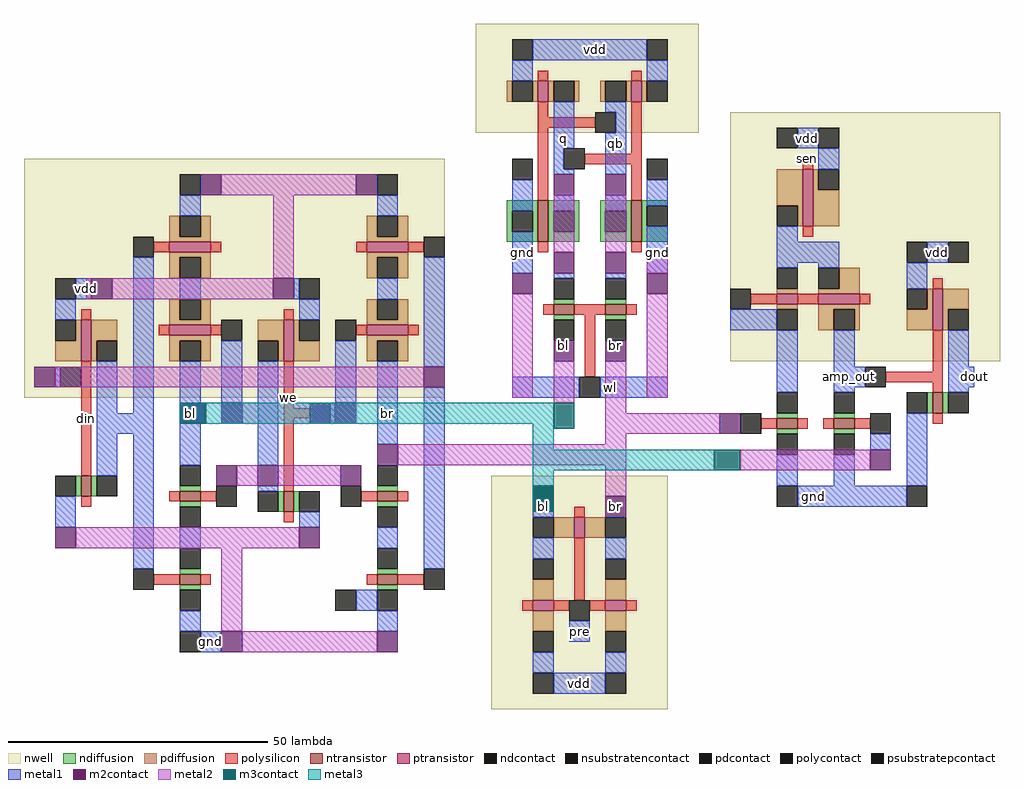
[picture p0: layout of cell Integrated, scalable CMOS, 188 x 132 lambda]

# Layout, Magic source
magic
tech scmos
<< nwell >>
rect -8 37 35 58
rect -95 -14 -14 32
rect 41 -7 93 41
rect -5 -74 29 -29
<< ntransistor >>
rect 4 16 6 24
rect 22 16 24 24
rect 7 2 11 4
rect 17 2 21 4
rect -84 -33 -82 -29
rect -65 -34 -61 -32
rect 80 -17 82 -13
rect 50 -20 54 -18
rect 61 -20 65 -18
rect -45 -36 -43 -32
rect -27 -34 -23 -32
rect -65 -50 -61 -48
rect -27 -50 -23 -48
<< ptransistor >>
rect 4 43 6 47
rect 22 43 24 47
rect -67 14 -59 16
rect -29 14 -21 16
rect 55 19 57 30
rect 50 4 54 6
rect 58 4 66 6
rect -84 -7 -82 1
rect -67 -2 -59 0
rect -45 -7 -43 1
rect -29 -2 -21 0
rect 80 -1 82 7
rect 11 -41 13 -37
rect 3 -55 7 -53
rect 17 -55 21 -53
<< ndiffusion >>
rect -2 22 4 24
rect -2 18 -1 22
rect 3 18 4 22
rect -2 16 4 18
rect 6 22 12 24
rect 6 18 7 22
rect 11 18 12 22
rect 6 16 12 18
rect 16 22 22 24
rect 16 18 17 22
rect 21 18 22 22
rect 16 16 22 18
rect 24 23 29 24
rect 24 19 25 23
rect 24 16 29 19
rect 7 4 11 5
rect 17 4 21 5
rect 7 1 11 2
rect 17 1 21 2
rect -85 -33 -84 -29
rect -82 -33 -81 -29
rect -65 -32 -61 -31
rect -65 -35 -61 -34
rect 50 -18 54 -17
rect 79 -17 80 -13
rect 82 -17 83 -13
rect 61 -18 65 -17
rect 50 -21 54 -20
rect 61 -21 65 -20
rect -46 -36 -45 -32
rect -43 -36 -42 -32
rect -27 -32 -23 -31
rect -27 -35 -23 -34
rect -65 -48 -61 -47
rect -27 -48 -23 -47
rect -65 -51 -61 -50
rect -27 -51 -23 -50
<< pdiffusion >>
rect -2 43 -1 47
rect 3 43 4 47
rect 6 43 7 47
rect 11 43 12 47
rect 16 43 17 47
rect 21 43 22 47
rect 24 43 25 47
rect -67 17 -65 21
rect -61 17 -59 21
rect -67 16 -59 17
rect -29 17 -27 21
rect -23 17 -21 21
rect -29 16 -21 17
rect -67 13 -59 14
rect -67 9 -65 13
rect -61 9 -59 13
rect -29 13 -21 14
rect 50 23 55 30
rect 54 19 55 23
rect 57 26 58 30
rect 57 19 62 26
rect -29 9 -27 13
rect -23 9 -21 13
rect -67 1 -65 5
rect -61 1 -59 5
rect -29 1 -27 5
rect -23 1 -21 5
rect 50 6 54 7
rect 62 7 66 11
rect 58 6 66 7
rect 50 3 54 4
rect -85 -3 -84 1
rect -89 -7 -84 -3
rect -82 -3 -77 1
rect -67 0 -59 1
rect -82 -7 -81 -3
rect -67 -3 -59 -2
rect -50 -3 -45 1
rect -67 -7 -65 -3
rect -61 -7 -59 -3
rect -46 -7 -45 -3
rect -43 -3 -42 1
rect -29 0 -21 1
rect -29 -3 -21 -2
rect -43 -7 -38 -3
rect -29 -7 -27 -3
rect -23 -7 -21 -3
rect 58 3 66 4
rect 58 -1 61 3
rect 65 -1 66 3
rect 79 3 80 7
rect 75 -1 80 3
rect 82 3 87 7
rect 82 -1 83 3
rect 7 -41 11 -37
rect 13 -41 17 -37
rect 3 -53 7 -49
rect 17 -53 21 -49
rect 3 -59 7 -55
rect 17 -59 21 -55
<< ndcontact >>
rect -1 18 3 22
rect 7 18 11 22
rect 17 18 21 22
rect 25 19 29 23
rect 7 5 11 9
rect 17 5 21 9
rect 7 -3 11 1
rect 17 -3 21 1
rect -89 -33 -85 -29
rect -81 -33 -77 -29
rect -65 -31 -61 -27
rect 50 -17 54 -13
rect 61 -17 65 -13
rect 75 -17 79 -13
rect 83 -17 87 -13
rect 50 -25 54 -21
rect 61 -25 65 -21
rect -27 -31 -23 -27
rect -65 -39 -61 -35
rect -50 -36 -46 -32
rect -42 -36 -38 -32
rect -27 -39 -23 -35
rect -65 -47 -61 -43
rect -27 -47 -23 -43
rect -65 -55 -61 -51
rect -27 -55 -23 -51
<< pdcontact >>
rect -1 43 3 47
rect 7 43 11 47
rect 17 43 21 47
rect 25 43 29 47
rect -65 17 -61 21
rect -27 17 -23 21
rect -65 9 -61 13
rect 50 19 54 23
rect 58 26 62 30
rect -27 9 -23 13
rect -65 1 -61 5
rect -27 1 -23 5
rect 50 7 54 11
rect 58 7 62 11
rect -89 -3 -85 1
rect -81 -7 -77 -3
rect -65 -7 -61 -3
rect -50 -7 -46 -3
rect -42 -3 -38 1
rect -27 -7 -23 -3
rect 50 -1 54 3
rect 61 -1 65 3
rect 75 3 79 7
rect 83 -1 87 3
rect 3 -41 7 -37
rect 17 -41 21 -37
rect 3 -49 7 -45
rect 17 -49 21 -45
rect 3 -63 7 -59
rect 17 -63 21 -59
<< psubstratepcontact >>
rect -1 28 3 32
rect 25 28 29 32
rect 50 -35 54 -31
rect 75 -35 79 -31
rect -35 -55 -31 -51
rect -65 -63 -61 -59
<< nsubstratencontact >>
rect -1 51 3 55
rect 25 51 29 55
rect -65 25 -61 29
rect -27 25 -23 29
rect 50 34 54 38
rect 58 34 62 38
rect 75 12 79 16
rect 83 12 87 16
rect -89 5 -85 9
rect -42 5 -38 9
rect 3 -71 7 -67
rect 17 -71 21 -67
<< polysilicon >>
rect 4 47 6 49
rect 22 47 24 49
rect 4 40 6 43
rect 4 38 15 40
rect 4 24 6 38
rect 22 33 24 43
rect 13 31 24 33
rect 22 24 24 31
rect 55 30 57 32
rect -70 14 -67 16
rect -59 14 -57 16
rect -31 14 -29 16
rect -21 14 -18 16
rect 55 17 57 19
rect 4 14 6 16
rect 22 14 24 16
rect -84 1 -82 3
rect -45 1 -43 3
rect 5 2 7 4
rect 11 2 17 4
rect 21 2 23 4
rect 80 7 82 9
rect 45 4 50 6
rect 54 4 58 6
rect 66 4 68 6
rect -69 -2 -67 0
rect -59 -2 -57 0
rect -31 -2 -29 0
rect -21 -2 -19 0
rect -84 -29 -82 -7
rect -45 -16 -43 -7
rect 13 -10 15 2
rect 80 -9 82 -1
rect 71 -11 82 -9
rect 80 -13 82 -11
rect -45 -18 -40 -16
rect -84 -35 -82 -33
rect -67 -34 -65 -32
rect -61 -34 -58 -32
rect -45 -32 -43 -18
rect 47 -20 50 -18
rect 54 -20 56 -18
rect 59 -20 61 -18
rect 65 -20 68 -18
rect 80 -19 82 -17
rect -30 -34 -27 -32
rect -23 -34 -21 -32
rect -45 -38 -43 -36
rect 11 -37 13 -35
rect -70 -50 -65 -48
rect -61 -50 -59 -48
rect -29 -50 -27 -48
rect -23 -50 -18 -48
rect 11 -53 13 -41
rect 1 -55 3 -53
rect 7 -55 10 -53
rect 14 -55 17 -53
rect 21 -55 23 -53
<< polycontact >>
rect 15 37 19 41
rect 9 30 13 34
rect -74 13 -70 17
rect -18 13 -14 17
rect 41 3 45 7
rect -57 -3 -53 1
rect -35 -3 -31 1
rect -88 -12 -84 -8
rect 12 -14 16 -10
rect 67 -12 71 -8
rect -58 -35 -54 -31
rect -40 -19 -36 -15
rect 43 -21 47 -17
rect 68 -21 72 -17
rect -34 -35 -30 -31
rect -74 -51 -70 -47
rect -18 -51 -14 -47
rect 10 -57 14 -53
<< metal1 >>
rect 3 51 25 55
rect -1 47 3 51
rect 25 47 29 51
rect 7 34 11 43
rect 17 41 21 43
rect 19 37 21 41
rect -65 21 -61 25
rect -27 21 -23 25
rect -1 22 3 28
rect 7 30 9 34
rect 7 29 11 30
rect 7 22 11 25
rect 17 29 21 37
rect 54 34 58 38
rect 17 22 21 25
rect 25 23 29 28
rect 58 30 62 34
rect -85 5 -82 9
rect -89 1 -85 5
rect -89 -12 -88 -8
rect -81 -17 -77 -7
rect -74 -17 -70 13
rect -65 5 -61 9
rect -43 5 -42 9
rect -42 1 -38 5
rect -27 5 -23 9
rect -81 -21 -70 -17
rect -81 -29 -77 -21
rect -89 -39 -85 -33
rect -74 -47 -70 -21
rect -65 -15 -61 -7
rect -57 -15 -53 -3
rect -65 -19 -60 -15
rect -65 -27 -61 -19
rect -50 -27 -46 -7
rect -35 -15 -31 -3
rect -36 -19 -35 -15
rect -27 -23 -23 -7
rect -50 -32 -46 -31
rect -18 -8 -14 13
rect -1 10 3 18
rect 7 9 11 10
rect 17 9 21 10
rect 25 10 29 19
rect 50 16 54 19
rect 50 12 62 16
rect 50 11 54 12
rect 58 11 62 12
rect 79 12 83 16
rect 75 7 79 12
rect 41 -1 50 3
rect -65 -43 -61 -39
rect -42 -39 -38 -36
rect -27 -43 -23 -39
rect -18 -47 -14 -12
rect -1 -14 12 -10
rect 16 -14 29 -10
rect 50 -13 54 -1
rect 61 -8 65 -1
rect 83 -8 87 -1
rect 61 -12 67 -8
rect 83 -12 88 -8
rect 61 -13 65 -12
rect 83 -13 87 -12
rect 50 -31 54 -25
rect 61 -31 65 -25
rect 68 -24 72 -21
rect 75 -31 79 -17
rect 3 -37 7 -31
rect 3 -45 7 -41
rect 54 -35 75 -31
rect 17 -45 21 -41
rect -31 -55 -27 -51
rect -65 -59 -61 -55
rect -27 -59 -23 -55
rect -61 -63 -57 -59
rect 10 -61 14 -57
rect 3 -67 7 -63
rect 17 -67 21 -63
rect 7 -71 17 -67
<< m2contact >>
rect -61 25 -57 29
rect -31 25 -27 29
rect 7 25 11 29
rect 17 25 21 29
rect -82 5 -78 9
rect -93 -12 -89 -8
rect -47 5 -43 9
rect -89 -43 -85 -39
rect -57 -19 -53 -15
rect -35 -19 -31 -15
rect -27 -27 -23 -23
rect -58 -31 -54 -27
rect -50 -31 -46 -27
rect -34 -31 -30 -27
rect -1 6 3 10
rect 7 10 11 14
rect 17 10 21 14
rect 25 6 29 10
rect 7 -7 11 -3
rect 17 -7 21 -3
rect -18 -12 -14 -8
rect -42 -43 -38 -39
rect 39 -21 43 -17
rect 68 -28 72 -24
rect 17 -37 21 -33
rect -57 -63 -53 -59
rect -27 -63 -23 -59
<< metal2 >>
rect -57 25 -31 29
rect -47 9 -43 25
rect 7 14 11 25
rect 17 14 21 25
rect 25 10 29 14
rect -83 5 -82 9
rect -78 5 -47 9
rect -89 -12 -18 -8
rect -1 -14 3 6
rect 7 -15 11 -7
rect -53 -19 -35 -15
rect 17 -17 21 -7
rect 25 -14 29 6
rect 17 -21 39 -17
rect 17 -23 21 -21
rect -23 -27 21 -23
rect -54 -31 -50 -27
rect -46 -31 -34 -27
rect 17 -33 21 -27
rect 43 -28 68 -24
rect -85 -43 -42 -39
rect -57 -59 -53 -43
rect -53 -63 -27 -59
<< m3contact >>
rect -65 -19 -60 -15
rect 7 -20 11 -15
rect 3 -36 7 -31
rect 38 -28 43 -24
<< metal3 >>
rect -60 -19 7 -15
rect 3 -24 7 -19
rect 3 -28 38 -24
rect 3 -31 7 -28
<< labels >>
rlabel metal1 -83 7 -83 7 1 vdd
rlabel polysilicon -83 -18 -83 -18 1 din
rlabel metal1 -79 -19 -79 -19 1 din_bar
rlabel metal1 -59 -61 -59 -61 1 gnd
rlabel metal1 -25 -17 -25 -17 1 br
rlabel polysilicon -44 -14 -44 -14 1 we
rlabel metal1 -48 -14 -48 -14 1 we_bar
rlabel metal1 -63 -17 -63 -17 1 bl
rlabel metal1 9 36 9 36 1 q
rlabel metal1 1 14 1 14 1 gnd
rlabel m2contact 9 -4 9 -4 1 bl
rlabel m2contact 19 -4 19 -4 1 br
rlabel metal1 27 14 27 14 1 gnd
rlabel metal1 19 35 19 35 1 qb
rlabel metal1 15 53 15 53 5 vdd
rlabel metal1 18 -12 18 -12 1 wl
rlabel m2contact 19 -35 19 -35 1 br
rlabel metal1 12 -59 12 -59 5 pre
rlabel metal1 12 -69 12 -69 5 vdd
rlabel metal1 5 -35 5 -35 5 bl
rlabel metal1 57 -33 57 -33 1 gnd
rlabel metal1 88 -12 88 -8 7 dout
rlabel metal1 81 14 81 14 1 vdd
rlabel metal1 64 -10 64 -10 1 amp_out
rlabel metal1 56 36 56 36 5 vdd
rlabel polysilicon 55 32 57 32 1 sen
<< end >>
